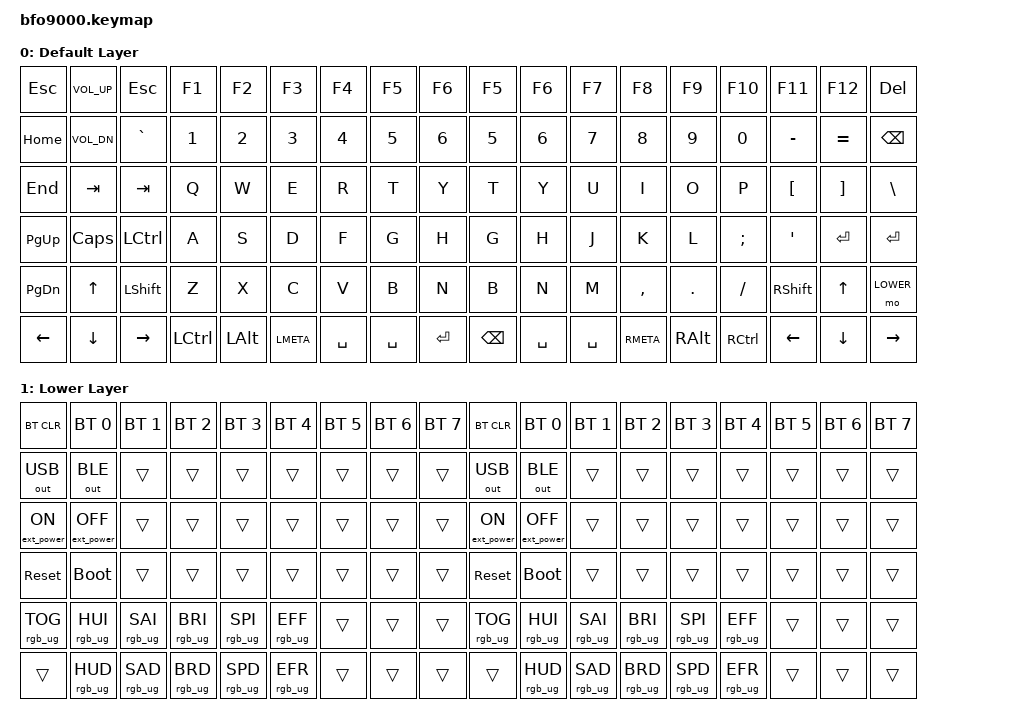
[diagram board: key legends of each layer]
/*
 * Copyright (c) 2020 The ZMK Contributors
 *
 * SPDX-License-Identifier: MIT
 */

#include <behaviors.dtsi>
#include <dt-bindings/zmk/keys.h>
#include <dt-bindings/zmk/bt.h>
#include <dt-bindings/zmk/outputs.h>
#include <dt-bindings/zmk/ext_power.h>
#include <dt-bindings/zmk/rgb.h>

#define DEFAULT 0
#define LOWER   1

/ {
    keymap {
        compatible = "zmk,keymap";

        default_layer {
            display-name = "Default Layer";
            // | Esc   | Vol Up | Esc   | F1   | F2  | F3  | F4  | F5  | F6    | F5     | F6  | F7  | F8  | F9  | F10  | F11   | F12   | Del    |
            // | Home  | Vol Dn | `     | 1    | 2   | 3   | 4   | 5   | 6     | 5      | 6   | 7   | 8   | 9   | 0    | -     | =     | Bk Spc |
            // | End   | Tab    | Tab   | Q    | W   | E   | R   | T   | Y     | T      | Y   | U   | I   | O   | P    | [     | ]     | \      |
            // | Pg Up | Caps   | Ctrl  | A    | S   | D   | F   | G   | H     | G      | H   | J   | K   | L   | ;    | '     | Enter | Enter  |
            // | Pg Dn | Up     | Shift | Z    | X   | C   | V   | B   | N     | B      | N   | M   | ,   | .   | /    | Shift | Up    |        |
            // | Left  | Dn     | Right | Ctrl | Alt | Win | Spc | Spc | Enter | Bk Spc | Spc | Spc | Win | Alt | Ctrl | Left  | Dn    | Right  |
            bindings = <
            &kp ESC   &kp C_VOL_UP &kp ESC   &kp F1    &kp F2   &kp F3    &kp F4    &kp F5    &kp F6    &kp F5     &kp F6    &kp F7    &kp F8    &kp F9   &kp F10   &kp F11   &kp F12   &kp DEL
            &kp HOME  &kp C_VOL_DN &kp GRAVE &kp N1    &kp N2   &kp N3    &kp N4    &kp N5    &kp N6    &kp N5     &kp N6    &kp N7    &kp N8    &kp N9   &kp N0    &kp MINUS &kp EQUAL &kp BSPC
            &kp END   &kp TAB      &kp TAB   &kp Q     &kp W    &kp E     &kp R     &kp T     &kp Y     &kp T      &kp Y     &kp U     &kp I     &kp O    &kp P     &kp LBKT  &kp RBKT  &kp BSLH
            &kp PG_UP &kp CAPS     &kp LCTRL &kp A     &kp S    &kp D     &kp F     &kp G     &kp H     &kp G      &kp H     &kp J     &kp K     &kp L    &kp SEMI  &kp APOS  &kp ENTER &kp ENTER
            &kp PG_DN &kp UP       &kp LSHFT &kp Z     &kp X    &kp C     &kp V     &kp B     &kp N     &kp B      &kp N     &kp M     &kp COMMA &kp DOT  &kp SLASH &kp RSHFT &kp UP    &mo LOWER
            &kp LEFT  &kp DOWN     &kp RIGHT &kp LCTRL &kp LALT &kp LMETA &kp SPACE &kp SPACE &kp ENTER &kp BSPC   &kp SPACE &kp SPACE &kp RMETA &kp RALT &kp RCTRL &kp LEFT  &kp DOWN  &kp RIGHT
            >;
        };

        lower_layer {
            display-name = "Lower Layer";
            // | | | | | | | | | | | | | | | | | | |
            // | | | | | | | | | | | | | | | | | | |
            // | | | | | | | | | | | | | | | | | | |
            // | | | | | | | | | | | | | | | | | | |
            // | | | | | | | | | | | | | | | | | | |
            // | | | | | | | | | | | | | | | | | | |
            bindings = <
            &bt BT_CLR       &bt BT_SEL 0      &bt BT_SEL 1    &bt BT_SEL 2    &bt BT_SEL 3    &bt BT_SEL 4    &bt BT_SEL 5 &bt BT_SEL 6 &bt BT_SEL 7 &bt BT_CLR       &bt BT_SEL 0      &bt BT_SEL 1    &bt BT_SEL 2    &bt BT_SEL 3    &bt BT_SEL 4    &bt BT_SEL 5 &bt BT_SEL 6 &bt BT_SEL 7
            &out OUT_USB     &out OUT_BLE      &trans          &trans          &trans          &trans          &trans       &trans       &trans       &out OUT_USB     &out OUT_BLE      &trans          &trans          &trans          &trans          &trans       &trans       &trans
            &ext_power EP_ON &ext_power EP_OFF &trans          &trans          &trans          &trans          &trans       &trans       &trans       &ext_power EP_ON &ext_power EP_OFF &trans          &trans          &trans          &trans          &trans       &trans       &trans
            &sys_reset           &bootloader       &trans          &trans          &trans          &trans          &trans       &trans       &trans       &sys_reset           &bootloader       &trans          &trans          &trans          &trans          &trans       &trans       &trans
            &rgb_ug RGB_TOG  &rgb_ug RGB_HUI   &rgb_ug RGB_SAI &rgb_ug RGB_BRI &rgb_ug RGB_SPI &rgb_ug RGB_EFF &trans       &trans       &trans       &rgb_ug RGB_TOG  &rgb_ug RGB_HUI   &rgb_ug RGB_SAI &rgb_ug RGB_BRI &rgb_ug RGB_SPI &rgb_ug RGB_EFF &trans       &trans       &trans
            &trans           &rgb_ug RGB_HUD   &rgb_ug RGB_SAD &rgb_ug RGB_BRD &rgb_ug RGB_SPD &rgb_ug RGB_EFR &trans       &trans       &trans       &trans           &rgb_ug RGB_HUD   &rgb_ug RGB_SAD &rgb_ug RGB_BRD &rgb_ug RGB_SPD &rgb_ug RGB_EFR &trans       &trans       &trans
            >;
        };
    };
};
